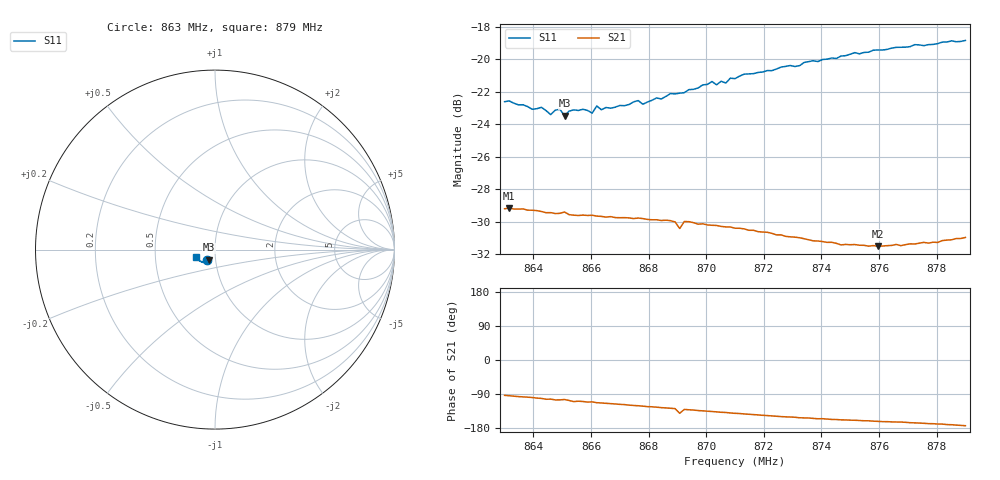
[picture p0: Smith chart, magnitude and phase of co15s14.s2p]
# HZ S RI R 50
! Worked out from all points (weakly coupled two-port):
!   101 points, 863 MHz to 879 MHz, reference 50 ohm
!   highest |S21| = -29.17 dB at 863.16 MHz (marker M1); lowest = -31.5 dB at 875.96 MHz (marker M2)
!   lowest |S11| = -23.5 dB at 865.08 MHz (marker M3), VSWR 1.14, Z = 46.2 - j5.25 ohm
!   |S11| at or under -10 dB: start of sweep to end of sweep
!   S12 and S22 are empty: the file has one direction only
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8.63e8  -0.0466 -0.0574  -0.00201 -0.0346  0 0  0 0
8.6316e8  -0.0469 -0.0577  -0.00254 -0.0347  0 0  0 0
8.6396e8  -0.0433 -0.0551  -0.00539 -0.0338  0 0  0 0
8.6428e8  -0.0417 -0.0575  -0.00671 -0.0333  0 0  0 0
8.646e8  -0.0426 -0.0523  -0.0077 -0.0328  0 0  0 0
8.6492e8  -0.0427 -0.0555  -0.00879 -0.0323  0 0  0 0
8.6508e8  -0.0359 -0.0565  -0.00829 -0.0328  0 0  0 0
8.6572e8  -0.0383 -0.0586  -0.0111 -0.0312  0 0  0 0
8.6604e8  -0.0356 -0.0581  -0.0116 -0.031  0 0  0 0
8.662e8  -0.0415 -0.0585  -0.0127 -0.0303  0 0  0 0
8.6636e8  -0.0388 -0.058  -0.013 -0.0301  0 0  0 0
8.6844e8  -0.0391 -0.0644  -0.0186 -0.0259  0 0  0 0
8.6892e8  -0.0412 -0.0663  -0.0195 -0.0247  0 0  0 0
8.6908e8  -0.0424 -0.0661  -0.0233 -0.0191  0 0  0 0
8.6924e8  -0.0416 -0.067  -0.0205 -0.0241  0 0  0 0
8.702e8  -0.0469 -0.0712  -0.0221 -0.0214  0 0  0 0
8.7036e8  -0.0469 -0.0689  -0.0224 -0.021  0 0  0 0
8.71e8  -0.0508 -0.0707  -0.0234 -0.0191  0 0  0 0
8.7372e8  -0.0681 -0.0716  -0.0248 -0.012  0 0  0 0
8.7596e8  -0.0867 -0.0621  -0.0252 -0.00823  0 0  0 0
8.7644e8  -0.0906 -0.0589  -0.0256 -0.00766  0 0  0 0
8.79e8  -0.1074 -0.0385  -0.0281 -0.00325  0 0  0 0
